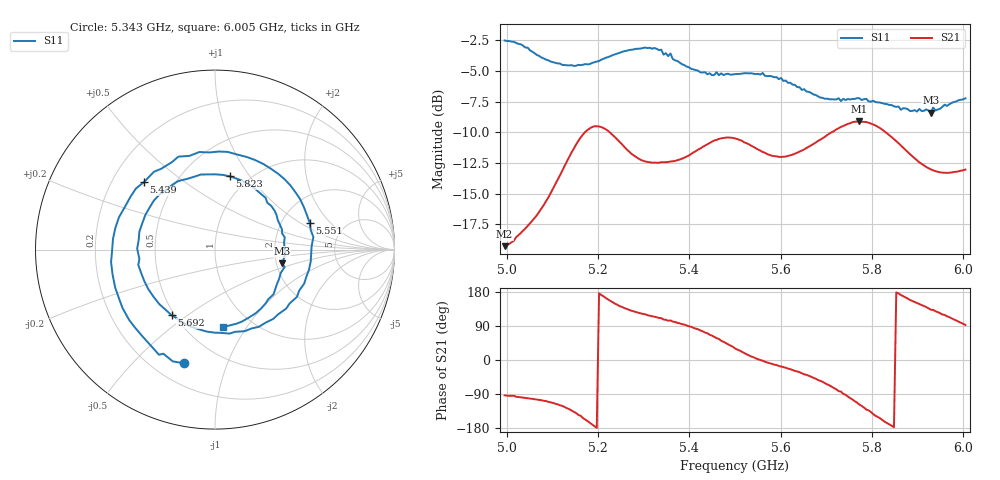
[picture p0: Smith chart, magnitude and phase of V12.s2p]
!File created by NanoVNA
# Hz S RI R 50
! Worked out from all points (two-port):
!   201 points, 4.995 GHz to 6.005 GHz, reference 50 ohm
!   highest |S21| = -9.10 dB at 5.773 GHz (marker M1); lowest = -19.3 dB at 4.995 GHz (marker M2)
!   |S21| within 3 dB of the highest: 5.135 GHz to 5.287 GHz (151.8 MHz wide, 2.91 % of centre); 5.386 GHz to 5.894 GHz (507.3 MHz wide, 8.99 % of centre)
!   lowest |S11| = -8.4 dB at 5.929 GHz (marker M3), VSWR 2.23, Z = 107 - j19.4 ohm
!   |S11| at or under -10 dB: nowhere
!   S12 and S22 are empty: the file has one direction only
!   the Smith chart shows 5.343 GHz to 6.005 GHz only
!   S11 on the Smith chart (normalised r, x): 5.343 GHz: 0.32, -0.71; 5.439 GHz: 0.34, +0.36; 5.551 GHz: 2.84, +1.22; 5.692 GHz: 0.48, -0.44; 5.823 GHz: 0.82, +0.81; 6.005 GHz: 0.74, -0.79
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4.995e9  0.2085 -0.7205  -0.0063 -0.1086  0 0  0 0
5.03035e9  -0.3145 -0.652  -0.0183 -0.1216  0 0  0 0
5.0758e9  -0.6342 -0.0807  -0.0431 -0.1489  0 0  0 0
5.1263e9  -0.348 0.4834  -0.1285 -0.1916  0 0  0 0
5.1667e9  0.1027 0.5882  -0.2765 -0.1401  0 0  0 0
5.2576e9  0.6699 -0.1058  -0.2016 0.1886  0 0  0 0
5.29295e9  0.4941 -0.4889  -0.1335 0.2051  0 0  0 0
5.33335e9  -0.0118 -0.685  -0.0857 0.2221  0 0  0 0
5.34345e9  -0.1722 -0.6336  -0.0691 0.2289  0 0  0 0
5.39395e9  -0.571 -0.1365  -0.00491 0.2522  0 0  0 0
5.4394e9  -0.3958 0.3761  0.0945 0.2671  0 0  0 0
5.5e9  0.2228 0.4994  0.2574 0.1521  0 0  0 0
5.5505e9  0.5271 0.1505  0.2692 0.00957  0 0  0 0
5.6212e9  0.3237 -0.3867  0.2328 -0.1046  0 0  0 0
5.6717e9  -0.0964 -0.4417  0.1934 -0.2074  0 0  0 0
5.6919e9  -0.2423 -0.3647  0.1609 -0.2527  0 0  0 0
5.72725e9  -0.4275 -0.0855  0.0451 -0.3263  0 0  0 0
5.7727e9  -0.3081 0.3082  -0.1625 -0.3109  0 0  0 0
5.8232e9  0.0814 0.4082  -0.3013 -0.1198  0 0  0 0
5.83835e9  0.1745 0.3704  -0.3034 -0.0539  0 0  0 0
5.92925e9  0.3731 -0.0774  -0.1518 0.1642  0 0  0 0
6.005e9  0.0446 -0.4335  -0.0097 0.2229  0 0  0 0
